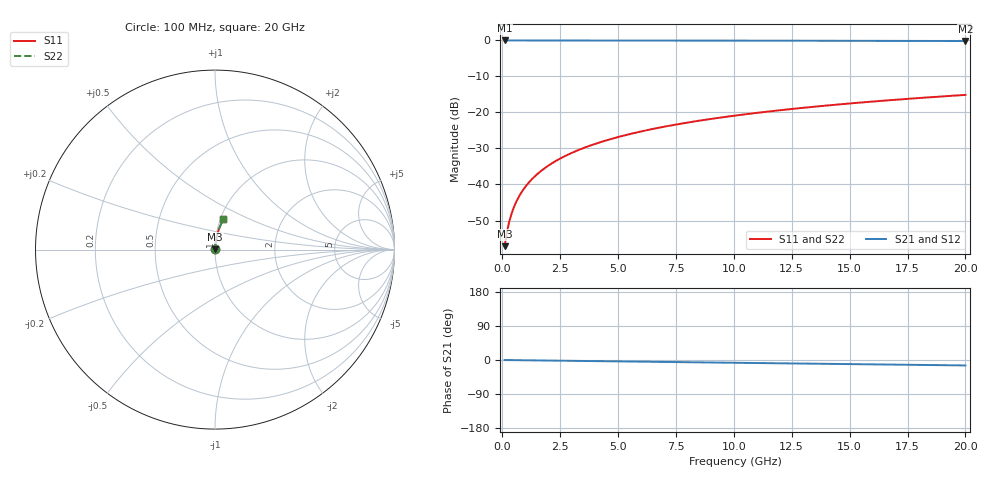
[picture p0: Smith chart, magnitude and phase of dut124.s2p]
! Touchstone file exported from HFSS 2026.1.0
!  File:  C:/ffzhzh/LocalFiles/Ansys_Project_Files/temp_train_TMRDL_124_1782982663_42984.aedt
!  Generated:  04:58:54 PM Jul  2, 2026
!  Design:  TMRDL
!  Project:  temp_train_TMRDL_124_1782982663_42984
! Variables:
!  h_bsmrdl = 2um
!  h_ox = 20um
!  h_rdl = 5um
!  h_sub = 80um
!  h_tmrdl = 3.13um
!  h_tsv = 80um
!  h_via = 3um
!  l_bsmrdl = 300um
!  l_sub = 536.07um
!  l_tmrdl = 136.07um
!  m_sub = 200um
!  pitch = 58.71um
!  r_tsv = 6um
!  s_tmrdl = 10um
!  w_bsmrdl = 18um
!  w_sub = 500um
!  w_tmrdl = 20.36um
!  x_tsv_center1 = 146.25um
!  x_tsv_center2 = 464.25um
!  x_tsv_center3 = 620.68um
!  x_tsv_center4 = 938.68um
!  x_tsv_center5 = 1095.11um
!  x_tsv_center6 = 1413.11um
# GHz S MA R 50.000000
! Terminal data exported
! Port[1] = TM_RDL1_1_T1
! Port[2] = TM_RDL1_1_T2
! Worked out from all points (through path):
!   200 points, 100 MHz to 20 GHz, reference 50 ohm
!   highest |S21| = -0.01 dB at 100 MHz (marker M1); lowest = -0.2 dB at 20 GHz (marker M2)
!   group delay of S21, straight-line fit = 1.99 ps
!   lowest |S11| = -57.1 dB at 100 MHz (marker M3), VSWR 1.00, Z = 50.1 + j0.0966 ohm
!   |S11| at or under -10 dB: start of sweep to end of sweep
!   |S22| runs from -57.1 to -15.1 dB; largest |S21 - S12| = 2.6e-15
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0.1  0.001392 43.8  0.999 -0.1  0.999 -0.1  0.001392 43.8
! Gamma 0 0 0 0
! Port Impedance 50 0 50 0
0.2  0.002178 61.6  0.999 -0.2  0.999 -0.2  0.002178 61.6
0.3  0.003049 69.3  0.9989 -0.2  0.9989 -0.2  0.003049 69.3
0.4  0.003939 73.5  0.9989 -0.3  0.9989 -0.3  0.003939 73.5
0.5  0.004832 76.1  0.9989 -0.4  0.9989 -0.4  0.004832 76.1
0.6  0.005727 77.9  0.9988 -0.4  0.9988 -0.4  0.005727 77.9
0.8  0.007521 80.3  0.9988 -0.6  0.9988 -0.6  0.007521 80.3
1.1  0.01022 82.3  0.9987 -0.8  0.9987 -0.8  0.01022 82.3
1.5  0.01384 83.7  0.9986 -1.1  0.9986 -1.1  0.01384 83.7
1.8  0.01656 84.2  0.9986 -1.3  0.9986 -1.3  0.01656 84.2
2.1  0.01929 84.6  0.9985 -1.5  0.9985 -1.5  0.01929 84.6
2.7  0.02474 84.8  0.9983 -2.0  0.9983 -2.0  0.02474 84.8
3.5  0.03199 84.8  0.998 -2.6  0.998 -2.6  0.03199 84.8
4.2  0.03833 84.6  0.9977 -3.1  0.9977 -3.1  0.03833 84.6
5  0.04555 84.2  0.9973 -3.7  0.9973 -3.7  0.04555 84.2
5.9  0.05363 83.8  0.9968 -4.3  0.9968 -4.3  0.05363 83.8
6.8  0.06168 83.2  0.9962 -5.0  0.9962 -5.0  0.06168 83.2
8.3  0.07502 82.3  0.995 -6.1  0.995 -6.1  0.07502 82.3
10.1  0.09088 81.1  0.9934 -7.4  0.9934 -7.4  0.09088 81.1
13.4  0.1196 78.9  0.9899 -9.7  0.9899 -9.7  0.1196 78.9
16.7  0.1477 76.7  0.9857 -12.0  0.9857 -12.0  0.1477 76.7
20  0.1753 74.5  0.9809 -14.4  0.9809 -14.4  0.1753 74.5
